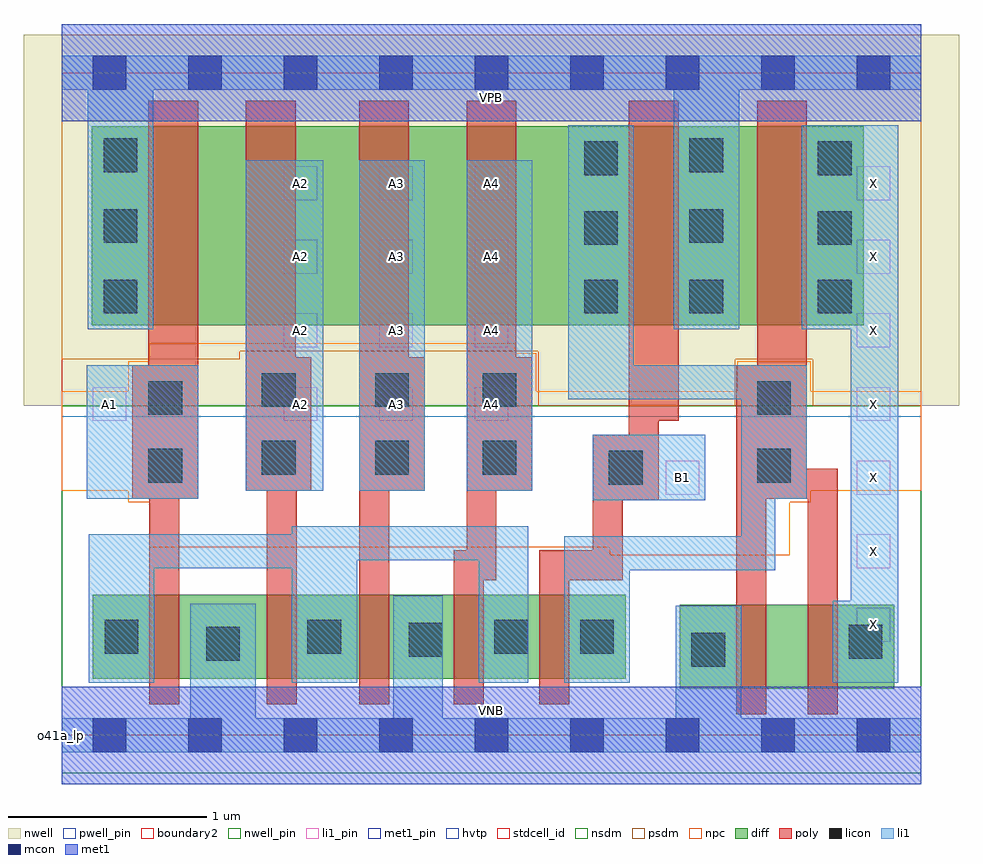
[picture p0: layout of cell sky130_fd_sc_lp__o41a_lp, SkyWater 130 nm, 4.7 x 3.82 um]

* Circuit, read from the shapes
.subckt sky130_fd_sc_lp__o41a_lp A1 A2 A3 A4 B1 VGND VNB VPB VPWR X
XM1 VGND A1 n1 VNB sky130_fd_pr__nfet_01v8 w=0.42 l=0.15
XM2 n1 A2 VGND VNB sky130_fd_pr__nfet_01v8 w=0.42 l=0.15
XM3 VGND A3 n1 VNB sky130_fd_pr__nfet_01v8 w=0.42 l=0.15
XM4 n1 A4 VGND VNB sky130_fd_pr__nfet_01v8 w=0.42 l=0.15
XM5 n2 B1 n1 VNB sky130_fd_pr__nfet_01v8 w=0.42 l=0.15
XM6 n3 n2 VGND VNB sky130_fd_pr__nfet_01v8 w=0.42 l=0.15
XM7 X n2 n3 VNB sky130_fd_pr__nfet_01v8 w=0.42 l=0.15
XM8 n4 A1 VPWR VPB sky130_fd_pr__pfet_01v8_hvt w=1 l=0.25
XM9 n5 A2 n4 VPB sky130_fd_pr__pfet_01v8_hvt w=1 l=0.25
XM10 n6 A3 n5 VPB sky130_fd_pr__pfet_01v8_hvt w=1 l=0.25
XM11 n2 A4 n6 VPB sky130_fd_pr__pfet_01v8_hvt w=1 l=0.25
XM12 VPWR B1 n2 VPB sky130_fd_pr__pfet_01v8_hvt w=1 l=0.25
XM13 X n2 VPWR VPB sky130_fd_pr__pfet_01v8_hvt w=1 l=0.25
.ends

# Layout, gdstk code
import gdstk
lib = gdstk.Library(unit=1e-6, precision=1e-09)
def R(c, l, rs):  # rectangles x0, y0, x1, y1
    for r in rs: c.add(gdstk.rectangle(r[:2], r[2:], *l))
def A(c, l, x, y, w, h, nx, ny, dx, dy):  # array of equal rectangles
    R(c, l, [(x+i*dx, y+j*dy, x+i*dx+w, y+j*dy+h) for i in range(nx) for j in range(ny)])
def P(c, l, *ps):  # polygons
    for p in ps: c.add(gdstk.Polygon(p, *l))
nwell_pin = (64, 16)
nwell = (64, 20)
diff = (65, 20)
poly = (66, 20)
licon = (66, 44)
li1_pin = (67, 16)
li1 = (67, 20)
mcon = (67, 44)
met1_pin = (68, 16)
met1 = (68, 20)
hvtp = (78, 44)
stdcell_id = (81, 4)
nsdm = (93, 44)
psdm = (94, 20)
npc = (95, 20)
pwell_pin = (122, 16)
boundary2 = (236, 0)

sky130_fd_sc_lp__o41a_lp = lib.new_cell('sky130_fd_sc_lp__o41a_lp')
R(sky130_fd_sc_lp__o41a_lp, nwell_pin, [(0,3.085,4.32,3.33)])
R(sky130_fd_sc_lp__o41a_lp, nwell, [(-0.19,1.655,4.51,3.52)])
R(sky130_fd_sc_lp__o41a_lp, diff, [(3.105,0.235,4.185,0.655), (0.155,0.285,2.835,0.705), (0.15,2.06,4.03,3.06)])
P(sky130_fd_sc_lp__o41a_lp, poly, [(0.685,3.19),(0.435,3.19),(0.435,1.86),(0.355,1.86),(0.355,1.19),(0.44,1.19),(0.44,0.155),(0.59,0.155),(0.59,1.19),(0.685,1.19)],
  [(1.255,1.9),(1.175,1.9),(1.175,3.19),(0.925,3.19),(0.925,1.23),(1.03,1.23),(1.03,0.155),(1.18,0.155),(1.18,1.23),(1.255,1.23)],
  [(1.825,1.9),(1.745,1.9),(1.745,3.19),(1.495,3.19),(1.495,0.155),(1.645,0.155),(1.645,1.23),(1.825,1.23)],
  [(2.365,1.9),(2.285,1.9),(2.285,3.19),(2.035,3.19),(2.035,0.93),(1.97,0.93),(1.97,0.155),(2.12,0.155),(2.12,0.78),(2.185,0.78),(2.185,1.23),(2.365,1.23)],
  [(3.1,3.19),(2.85,3.19),(2.85,1.51),(2.67,1.51),(2.67,0.93),(2.4,0.93),(2.4,0.155),(2.55,0.155),(2.55,0.78),(2.82,0.78),(2.82,1.18),(3,1.18),(3,1.58),(3.1,1.58)],
  [(3.9,1.34),(3.745,1.34),(3.745,3.19),(3.495,3.19),(3.495,1.86),(3.39,1.86),(3.39,0.105),(3.54,0.105),(3.54,1.19),(3.75,1.19),(3.75,0.105),(3.9,0.105)])
A(sky130_fd_sc_lp__o41a_lp, licon, 0.21, 2.12, 0.17, 0.17, 1, 3, 0, 0.355)
A(sky130_fd_sc_lp__o41a_lp, licon, 3.155, 2.12, 0.17, 0.17, 1, 3, 0, 0.355)
R(sky130_fd_sc_lp__o41a_lp, licon, [(3.165,0.345,3.335,0.515), (0.725,0.375,0.895,0.545), (3.955,0.385,4.125,0.555), (1.745,0.395,1.915,0.565), (0.215,0.41,0.385,0.58), (1.235,0.41,1.405,0.58), (2.175,0.41,2.345,0.58), (2.605,0.41,2.775,0.58), (2.75,1.26,2.92,1.43), (0.435,1.27,0.605,1.44), (3.495,1.27,3.665,1.44), (1.005,1.31,1.175,1.48), (1.575,1.31,1.745,1.48), (2.115,1.31,2.285,1.48), (0.435,1.61,0.605,1.78), (3.495,1.61,3.665,1.78), (1.005,1.65,1.175,1.82), (1.575,1.65,1.745,1.82), (2.115,1.65,2.285,1.82), (2.625,2.12,2.795,2.29), (3.8,2.12,3.97,2.29), (2.625,2.465,2.795,2.635), (3.8,2.465,3.97,2.635), (2.625,2.815,2.795,2.985), (3.8,2.815,3.97,2.985)])
A(sky130_fd_sc_lp__o41a_lp, li1_pin, 3.995, 0.47, 0.17, 0.17, 1, 7, 0, 0.37)
A(sky130_fd_sc_lp__o41a_lp, li1_pin, 1.115, 1.58, 0.17, 0.17, 3, 4, 0.48, 0.37)
R(sky130_fd_sc_lp__o41a_lp, li1_pin, [(3.035,1.21,3.205,1.38), (0.155,1.58,0.325,1.75)])
R(sky130_fd_sc_lp__o41a_lp, li1, [(2.67,1.18,3.235,1.51), (0.125,1.19,0.685,1.86), (0.925,1.23,1.315,2.89), (1.495,1.23,1.825,2.89), (2.035,1.23,2.365,2.89)])
P(sky130_fd_sc_lp__o41a_lp, li1, [(0.13,2.04),(0.13,3.245),(0,3.245),(0,3.415),(4.32,3.415),(4.32,3.245),(3.405,3.245),(3.405,2.04),(3.075,2.04),(3.075,3.245),(0.46,3.245),(0.46,2.04)],
  [(3.085,0.085),(3.085,0.65),(3.415,0.65),(3.415,0.085),(4.32,0.085),(4.32,-0.085),(0,-0.085),(0,0.085),(0.645,0.085),(0.645,0.66),(0.975,0.66),(0.975,0.085),(1.665,0.085),(1.665,0.7),(1.915,0.7),(1.915,0.085)],
  [(2.525,1),(3.415,1),(3.415,1.69),(2.545,1.69),(2.545,3.065),(2.875,3.065),(2.875,1.86),(3.745,1.86),(3.745,1.19),(3.585,1.19),(3.585,0.83),(2.855,0.83),(2.855,0.265),(2.525,0.265)],
  [(1.155,1.05),(2.345,1.05),(2.345,0.265),(2.095,0.265),(2.095,0.88),(1.485,0.88),(1.485,0.265),(1.155,0.265),(1.155,0.84),(0.465,0.84),(0.465,0.265),(0.135,0.265),(0.135,1.01),(1.155,1.01)],
  [(3.72,2.04),(3.72,3.065),(4.205,3.065),(4.205,0.265),(3.875,0.265),(3.875,0.675),(3.965,0.675),(3.965,2.04)])
A(sky130_fd_sc_lp__o41a_lp, mcon, 0.155, -0.085, 0.17, 0.17, 9, 2, 0.48, 3.33)
R(sky130_fd_sc_lp__o41a_lp, met1_pin, [(0,0,4.32,0.245), (0,3.085,4.32,3.33)])
R(sky130_fd_sc_lp__o41a_lp, met1, [(0,-0.245,4.32,0.245), (0,3.085,4.32,3.575)])
R(sky130_fd_sc_lp__o41a_lp, hvtp, [(0,1.6,4.32,3.33)])
R(sky130_fd_sc_lp__o41a_lp, stdcell_id, [(0,0,4.32,3.33)])
R(sky130_fd_sc_lp__o41a_lp, nsdm, [(0,-0.19,4.32,1.655)])
P(sky130_fd_sc_lp__o41a_lp, psdm, [(4.32,3.52),(0,3.52),(0,1.89),(0.895,1.89),(0.895,1.93),(2.395,1.93),(2.395,1.655),(3.385,1.655),(3.385,1.89),(3.775,1.89),(3.775,1.655),(4.32,1.655)])
P(sky130_fd_sc_lp__o41a_lp, npc, [(4.32,1.73),(3.765,1.73),(3.765,1.88),(3.395,1.88),(3.395,1.73),(2.385,1.73),(2.385,1.92),(2.28,1.92),(2.28,1.97),(0.44,1.97),(0.44,1.88),(0.335,1.88),(0.335,1.73),(0,1.73),(0,1.23),(0.335,1.23),(0.335,1.17),(0.44,1.17),(0.44,0.945),(2.755,0.945),(2.755,0.905),(3.66,0.905),(3.66,1.17),(3.765,1.17),(3.765,1.23),(4.32,1.23)])
R(sky130_fd_sc_lp__o41a_lp, pwell_pin, [(0,0,4.32,0.245)])
R(sky130_fd_sc_lp__o41a_lp, boundary2, [(0,0,4.32,3.33)])
sky130_fd_sc_lp__o41a_lp.add(gdstk.Label('VNB', (2.16,0.123), layer=64, texttype=59))
sky130_fd_sc_lp__o41a_lp.add(gdstk.Label('VPB', (2.16,3.208), layer=64, texttype=5))
sky130_fd_sc_lp__o41a_lp.add(gdstk.Label('o41a_lp', (0,0), layer=83, texttype=44))
sky130_fd_sc_lp__o41a_lp.add(gdstk.Label('VPWR', (2.16,3.208), layer=68, texttype=5))
sky130_fd_sc_lp__o41a_lp.add(gdstk.Label('VGND', (2.16,0.123), layer=68, texttype=5))
sky130_fd_sc_lp__o41a_lp.add(gdstk.Label('B1', (3.12,1.295), layer=67, texttype=5))
sky130_fd_sc_lp__o41a_lp.add(gdstk.Label('A4', (2.16,1.665), layer=67, texttype=5))
sky130_fd_sc_lp__o41a_lp.add(gdstk.Label('A4', (2.16,2.035), layer=67, texttype=5))
sky130_fd_sc_lp__o41a_lp.add(gdstk.Label('A4', (2.16,2.405), layer=67, texttype=5))
sky130_fd_sc_lp__o41a_lp.add(gdstk.Label('A4', (2.16,2.775), layer=67, texttype=5))
sky130_fd_sc_lp__o41a_lp.add(gdstk.Label('A3', (1.68,1.665), layer=67, texttype=5))
sky130_fd_sc_lp__o41a_lp.add(gdstk.Label('A3', (1.68,2.035), layer=67, texttype=5))
sky130_fd_sc_lp__o41a_lp.add(gdstk.Label('A3', (1.68,2.405), layer=67, texttype=5))
sky130_fd_sc_lp__o41a_lp.add(gdstk.Label('A3', (1.68,2.775), layer=67, texttype=5))
sky130_fd_sc_lp__o41a_lp.add(gdstk.Label('A2', (1.2,1.665), layer=67, texttype=5))
sky130_fd_sc_lp__o41a_lp.add(gdstk.Label('A2', (1.2,2.035), layer=67, texttype=5))
sky130_fd_sc_lp__o41a_lp.add(gdstk.Label('A2', (1.2,2.405), layer=67, texttype=5))
sky130_fd_sc_lp__o41a_lp.add(gdstk.Label('A2', (1.2,2.775), layer=67, texttype=5))
sky130_fd_sc_lp__o41a_lp.add(gdstk.Label('A1', (0.24,1.665), layer=67, texttype=5))
sky130_fd_sc_lp__o41a_lp.add(gdstk.Label('X', (4.08,0.555), layer=67, texttype=5))
sky130_fd_sc_lp__o41a_lp.add(gdstk.Label('X', (4.08,0.925), layer=67, texttype=5))
sky130_fd_sc_lp__o41a_lp.add(gdstk.Label('X', (4.08,1.295), layer=67, texttype=5))
sky130_fd_sc_lp__o41a_lp.add(gdstk.Label('X', (4.08,1.665), layer=67, texttype=5))
sky130_fd_sc_lp__o41a_lp.add(gdstk.Label('X', (4.08,2.035), layer=67, texttype=5))
sky130_fd_sc_lp__o41a_lp.add(gdstk.Label('X', (4.08,2.405), layer=67, texttype=5))
sky130_fd_sc_lp__o41a_lp.add(gdstk.Label('X', (4.08,2.775), layer=67, texttype=5))

lib.write_gds('sky130_fd_sc_lp__o41a_lp.gds')
